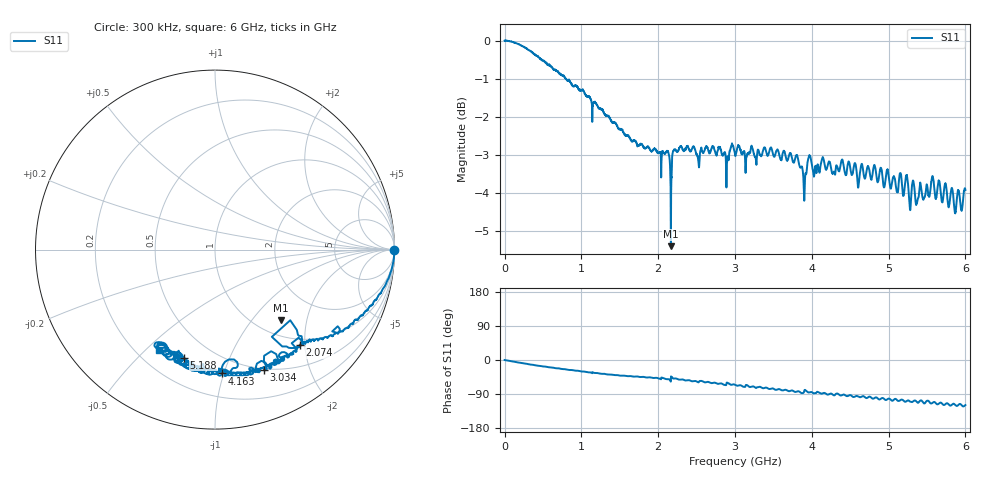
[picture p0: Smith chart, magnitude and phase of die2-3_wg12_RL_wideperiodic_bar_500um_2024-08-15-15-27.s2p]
!Keysight Technologies,P9374A,MY57304198,A.17.20.09
!Date: Thursday, August 15, 2024 15:27:24
!Correction: S11(C  1-Port  )
!S21(C  1-Port  )
!S12(Off)
!S22(Off)
!S2P File: Measurements: S11, S21, S12, S22:
# Hz S  dB  R 50
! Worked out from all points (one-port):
!   6000 points, 300 kHz to 6 GHz, reference 50 ohm
!   lowest |S11| = -5.4 dB at 2.166 GHz (marker M1), VSWR 3.32, Z = 64.1 - j70.7 ohm
!   |S11| at or under -10 dB: nowhere
!   S11 on the Smith chart (normalised r, x): 300 kHz: open; 2.074 GHz: 0.89, -1.90; 3.034 GHz: 0.49, -1.37; 4.163 GHz: 0.37, -0.99; 5.188 GHz: 0.35, -0.69; 6 GHz: 0.29, -0.55
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300000  -0.00 -0.0  -200.00 45.0  -200.00 45.0  -200.00 45.0
4.97358e8  -0.52 -16.9  -200.00 45.0  -200.00 45.0  -200.00 45.0
1.000417e9  -1.30 -30.2  -200.00 45.0  -200.00 45.0  -200.00 45.0
1.501475e9  -2.32 -41.2  -200.00 45.0  -200.00 45.0  -200.00 45.0
2.000533e9  -2.95 -48.2  -200.00 45.0  -200.00 45.0  -200.00 45.0
2.073542e9  -2.96 -48.2  -200.00 45.0  -200.00 45.0  -200.00 45.0
2.165553e9  -5.40 -46.9  -200.00 45.0  -200.00 45.0  -200.00 45.0
2.208558e9  -2.86 -48.9  -200.00 45.0  -200.00 45.0  -200.00 45.0
2.859634e9  -2.95 -65.6  -200.00 45.0  -200.00 45.0  -200.00 45.0
2.919641e9  -3.12 -61.8  -200.00 45.0  -200.00 45.0  -200.00 45.0
3.00065e9  -2.99 -65.6  -200.00 45.0  -200.00 45.0  -200.00 45.0
3.033654e9  -2.80 -67.9  -200.00 45.0  -200.00 45.0  -200.00 45.0
3.546714e9  -2.88 -78.2  -200.00 45.0  -200.00 45.0  -200.00 45.0
3.868751e9  -3.31 -87.5  -200.00 45.0  -200.00 45.0  -200.00 45.0
3.926758e9  -3.51 -81.2  -200.00 45.0  -200.00 45.0  -200.00 45.0
4.000767e9  -3.25 -84.9  -200.00 45.0  -200.00 45.0  -200.00 45.0
4.162786e9  -3.21 -86.8  -200.00 45.0  -200.00 45.0  -200.00 45.0
5.000883e9  -3.55 -101.8  -200.00 45.0  -200.00 45.0  -200.00 45.0
5.187905e9  -4.07 -106.0  -200.00 45.0  -200.00 45.0  -200.00 45.0
5.509943e9  -3.92 -107.3  -200.00 45.0  -200.00 45.0  -200.00 45.0
5.637958e9  -3.86 -117.0  -200.00 45.0  -200.00 45.0  -200.00 45.0
6e9  -3.92 -118.9  -200.00 45.0  -200.00 45.0  -200.00 45.0
